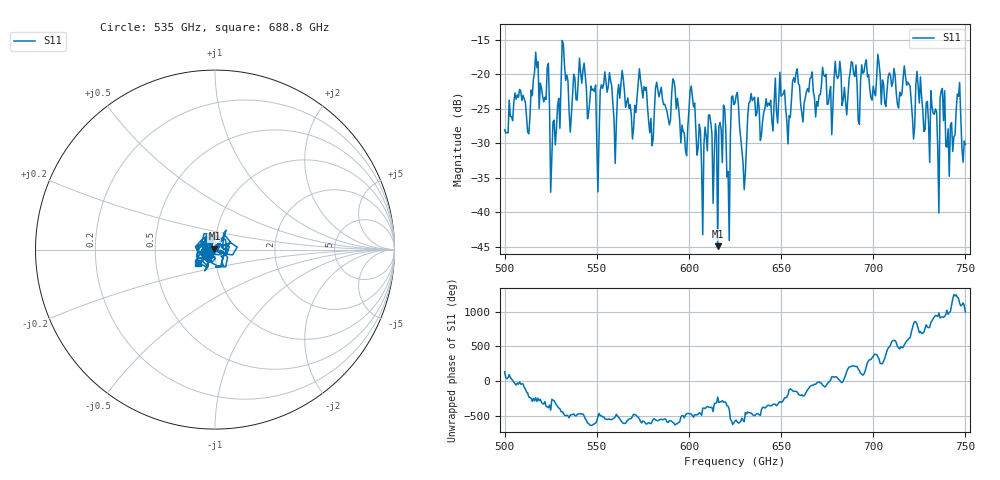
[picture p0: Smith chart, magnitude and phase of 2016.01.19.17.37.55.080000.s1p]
!Created with skrf (http://scikit-rf.org).
# GHz S RI R 50.0
!freq ReS11 ImS11
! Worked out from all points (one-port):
!   401 points, 500 GHz to 750 GHz, reference 50 ohm
!   lowest |S11| = -44.9 dB at 615.6 GHz (marker M1), VSWR 1.01, Z = 49.7 + j0.447 ohm
!   |S11| at or under -10 dB: start of sweep to end of sweep
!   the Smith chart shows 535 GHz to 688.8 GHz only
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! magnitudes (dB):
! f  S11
! 500 GHz  -28.0
! 512.5 GHz  -28.4
! 516.9 GHz  -16.8
! 526.2 GHz  -26.9
! 531.2 GHz  -15.1
! 535.6 GHz  -28.4
! 541.9 GHz  -21.3
! 550 GHz  -29.8
! 553.1 GHz  -22.0
! 560 GHz  -32.9
! 562.5 GHz  -23.5
! 579.4 GHz  -26.4
! 583.1 GHz  -22.2
! 593.8 GHz  -23.5
! 615.6 GHz  -44.9
! 618.8 GHz  -24.4
! 621.2 GHz  -34.1
! 625 GHz  -24.1
! 630 GHz  -36.7
! 633.8 GHz  -22.8
! 656.2 GHz  -21.0
! 687.5 GHz  -19.6
! 718.8 GHz  -21.1
! 734.4 GHz  -25.4
! 737.5 GHz  -22.0
! 740.6 GHz  -27.9
! 746.2 GHz  -23.2
! 750 GHz  -30.2
